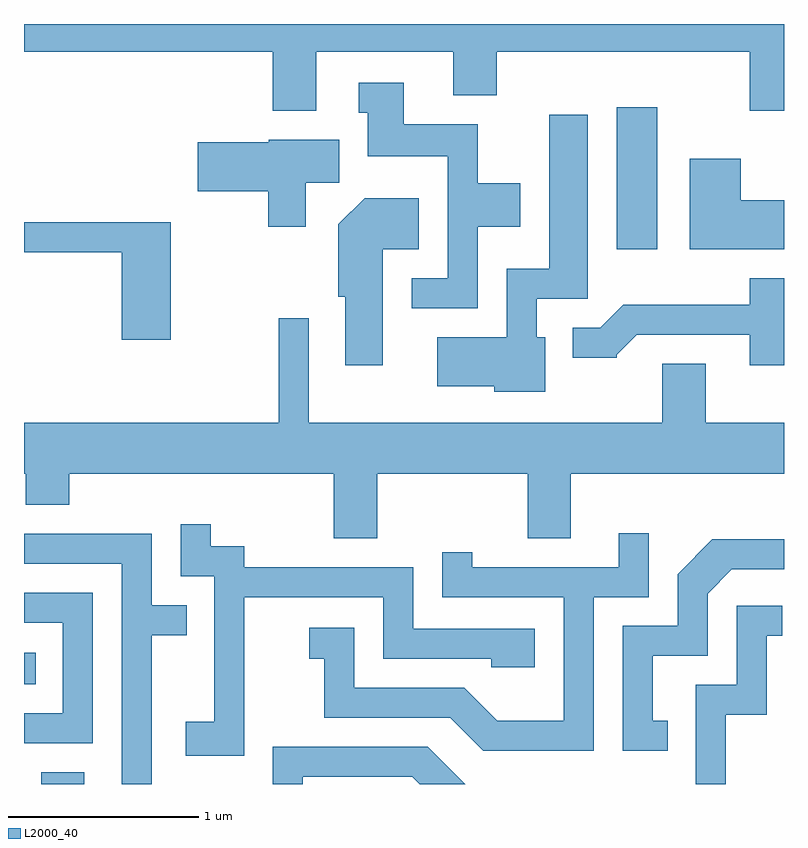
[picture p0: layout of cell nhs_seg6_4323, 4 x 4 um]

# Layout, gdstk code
import gdstk
lib = gdstk.Library(unit=1e-6, precision=1e-09)
def R(c, l, rs):  # rectangles x0, y0, x1, y1
    for r in rs: c.add(gdstk.rectangle(r[:2], r[2:], *l))
def P(c, l, *ps):  # polygons
    for p in ps: c.add(gdstk.Polygon(p, *l))
L2000_40 = (2000, 40)

nhs_seg6_4323 = lib.new_cell('nhs_seg6_4323')
R(nhs_seg6_4323, L2000_40, [(317.701,1566.162,317.929,1566.224), (317.611,1566.686,317.673,1566.854), (320.731,1568.976,320.944,1569.724)])
P(nhs_seg6_4323, L2000_40, [(319.149,1570.016),(319.871,1570.016),(319.871,1569.786),(320.099,1569.786),(320.099,1570.016),(321.431,1570.016),(321.431,1569.706),(321.611,1569.706),(321.611,1570.162),(317.611,1570.162),(317.611,1570.016),(318.921,1570.016),(318.921,1569.706),(319.149,1569.706)],
  [(319.999,1569.096),(320.224,1569.096),(320.224,1569.324),(319.999,1569.324),(319.999,1569.634),(319.609,1569.634),(319.609,1569.854),(319.373,1569.854),(319.373,1569.696),(319.421,1569.696),(319.421,1569.466),(319.841,1569.466),(319.841,1568.824),(319.653,1568.824),(319.653,1568.666),(319.999,1568.666)],
  [(320.354,1568.514),(320.309,1568.514),(320.309,1568.716),(320.579,1568.716),(320.579,1569.684),(320.376,1569.684),(320.376,1568.874),(320.151,1568.874),(320.151,1568.514),(319.786,1568.514),(319.786,1568.256),(320.086,1568.256),(320.086,1568.226),(320.354,1568.226)],
  [(319.094,1569.326),(319.269,1569.326),(319.269,1569.554),(318.9,1569.554),(318.9,1569.539),(318.526,1569.539),(318.526,1569.281),(318.896,1569.281),(318.896,1569.096),(319.094,1569.096)],
  [(321.611,1569.234),(321.384,1569.234),(321.384,1569.454),(321.116,1569.454),(321.116,1568.976),(321.611,1568.976)],
  [(319.499,1568.976),(319.689,1568.976),(319.689,1569.244),(319.404,1569.244),(319.266,1569.107),(319.266,1568.726),(319.301,1568.726),(319.301,1568.366),(319.499,1568.366)],
  [(318.384,1569.119),(317.611,1569.119),(317.611,1568.961),(318.126,1568.961),(318.126,1568.501),(318.384,1568.501)],
  [(321.611,1568.824),(321.431,1568.824),(321.431,1568.684),(320.764,1568.684),(320.644,1568.564),(320.498,1568.564),(320.498,1568.406),(320.73,1568.406),(320.73,1568.42),(320.837,1568.526),(321.431,1568.526),(321.431,1568.366),(321.611,1568.366)],
  [(319.469,1567.796),(320.261,1567.796),(320.261,1567.456),(320.489,1567.456),(320.489,1567.796),(321.611,1567.796),(321.611,1568.064),(321.199,1568.064),(321.199,1568.374),(320.971,1568.374),(320.971,1568.064),(319.109,1568.064),(319.109,1568.613),(318.951,1568.613),(318.951,1568.064),(317.611,1568.064),(317.611,1567.796),(317.621,1567.796),(317.621,1567.631),(317.849,1567.631),(317.849,1567.796),(319.241,1567.796),(319.241,1567.456),(319.469,1567.456)],
  [(318.769,1567.146),(319.501,1567.146),(319.501,1566.821),(320.071,1566.821),(320.071,1566.776),(320.299,1566.776),(320.299,1566.979),(319.659,1566.979),(319.659,1567.304),(318.769,1567.304),(318.769,1567.414),(318.594,1567.414),(318.594,1567.528),(318.436,1567.528),(318.436,1567.256),(318.611,1567.256),(318.611,1566.489),(318.461,1566.489),(318.461,1566.311),(318.769,1566.311)],
  [(320.609,1567.146),(320.899,1567.146),(320.899,1567.483),(320.741,1567.483),(320.741,1567.304),(319.969,1567.304),(319.969,1567.383),(319.811,1567.383),(319.811,1567.146),(320.451,1567.146),(320.451,1566.494),(320.102,1566.494),(319.927,1566.669),(319.349,1566.669),(319.349,1566.984),(319.113,1566.984),(319.113,1566.821),(319.191,1566.821),(319.191,1566.511),(319.854,1566.511),(320.029,1566.336),(320.609,1566.336)],
  [(318.284,1566.946),(318.468,1566.946),(318.468,1567.104),(318.284,1567.104),(318.284,1567.479),(317.611,1567.479),(317.611,1567.321),(318.126,1567.321),(318.126,1566.162),(318.284,1566.162)],
  [(320.998,1566.494),(320.919,1566.494),(320.919,1566.836),(321.209,1566.836),(321.209,1567.164),(321.337,1567.291),(321.611,1567.291),(321.611,1567.449),(321.234,1567.449),(321.051,1567.267),(321.051,1566.994),(320.761,1566.994),(320.761,1566.336),(320.998,1566.336)],
  [(317.974,1567.169),(317.611,1567.169),(317.611,1567.011),(317.816,1567.011),(317.816,1566.534),(317.611,1566.534),(317.611,1566.376),(317.974,1566.376)],
  [(321.304,1566.526),(321.519,1566.526),(321.519,1566.941),(321.603,1566.941),(321.603,1567.099),(321.361,1567.099),(321.361,1566.684),(321.146,1566.684),(321.146,1566.162),(321.304,1566.162)],
  [(319.079,1566.201),(319.654,1566.201),(319.693,1566.162),(319.934,1566.162),(319.737,1566.359),(318.921,1566.359),(318.921,1566.162),(319.079,1566.162)])

lib.write_gds('nhs_seg6_4323.gds')
